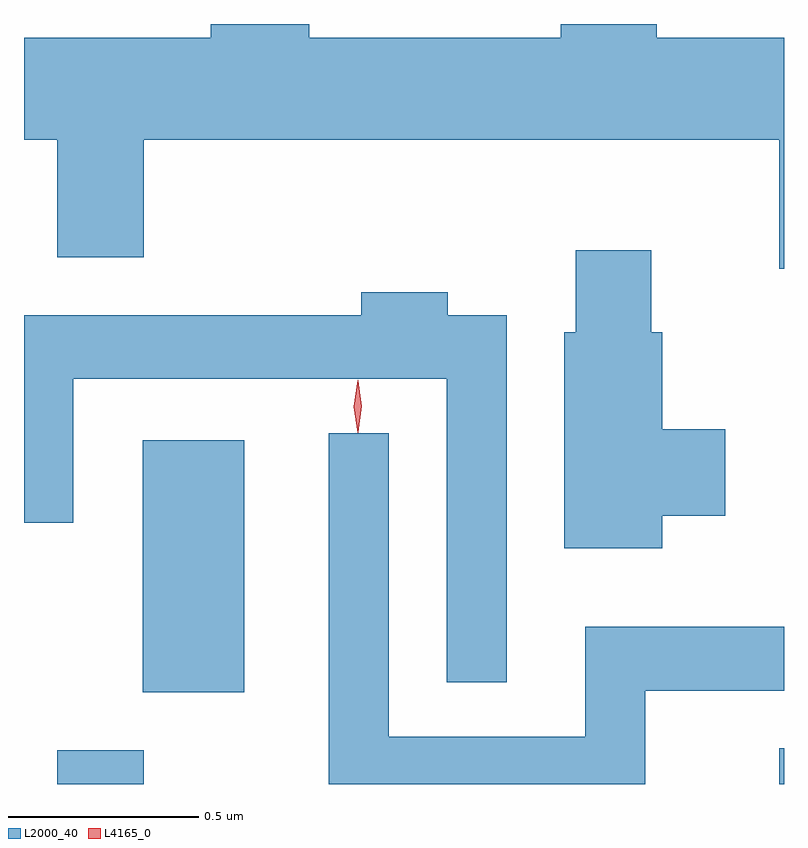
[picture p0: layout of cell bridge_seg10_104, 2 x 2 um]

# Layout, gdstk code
import gdstk
lib = gdstk.Library(unit=1e-6, precision=1e-09)
def R(c, l, rs):  # rectangles x0, y0, x1, y1
    for r in rs: c.add(gdstk.rectangle(r[:2], r[2:], *l))
def P(c, l, *ps):  # polygons
    for p in ps: c.add(gdstk.Polygon(p, *l))
L2000_40 = (2000, 40)
L4165_0 = (4165, 0)

bridge_seg10_104 = lib.new_cell('bridge_seg10_104')
R(bridge_seg10_104, L2000_40, [(1585.521,2172.16,1585.749,2172.249), (1587.421,2172.16,1587.434,2172.254), (1585.746,2172.401,1586.014,2173.064)])
P(bridge_seg10_104, L2000_40, [(1587.434,2174.124),(1587.099,2174.124),(1587.099,2174.16),(1586.846,2174.16),(1586.846,2174.124),(1586.184,2174.124),(1586.184,2174.16),(1585.926,2174.16),(1585.926,2174.124),(1585.434,2174.124),(1585.434,2173.856),(1585.521,2173.856),(1585.521,2173.546),(1585.749,2173.546),(1585.749,2173.856),(1587.421,2173.856),(1587.421,2173.516),(1587.434,2173.516)],
  [(1587.114,2172.866),(1587.279,2172.866),(1587.279,2173.094),(1587.114,2173.094),(1587.114,2173.349),(1587.084,2173.349),(1587.084,2173.564),(1586.886,2173.564),(1586.886,2173.349),(1586.856,2173.349),(1586.856,2172.781),(1587.114,2172.781)],
  [(1586.704,2173.394),(1586.549,2173.394),(1586.549,2173.454),(1586.321,2173.454),(1586.321,2173.394),(1585.434,2173.394),(1585.434,2172.848),(1585.564,2172.848),(1585.564,2173.226),(1586.546,2173.226),(1586.546,2172.428),(1586.704,2172.428)],
  [(1587.069,2172.406),(1587.434,2172.406),(1587.434,2172.574),(1586.911,2172.574),(1586.911,2172.284),(1586.394,2172.284),(1586.394,2173.083),(1586.236,2173.083),(1586.236,2172.16),(1587.069,2172.16)])
P(bridge_seg10_104, L4165_0, [(1586.312,2173.084),(1586.312,2173.084),(1586.302,2173.153),(1586.312,2173.222),(1586.312,2173.223),(1586.313,2173.222),(1586.322,2173.153),(1586.313,2173.084)],
  [(1586.312,2173.087),(1586.303,2173.154),(1586.312,2173.22),(1586.313,2173.22),(1586.313,2173.22),(1586.323,2173.154),(1586.313,2173.087),(1586.313,2173.087)])

lib.write_gds('bridge_seg10_104.gds')
